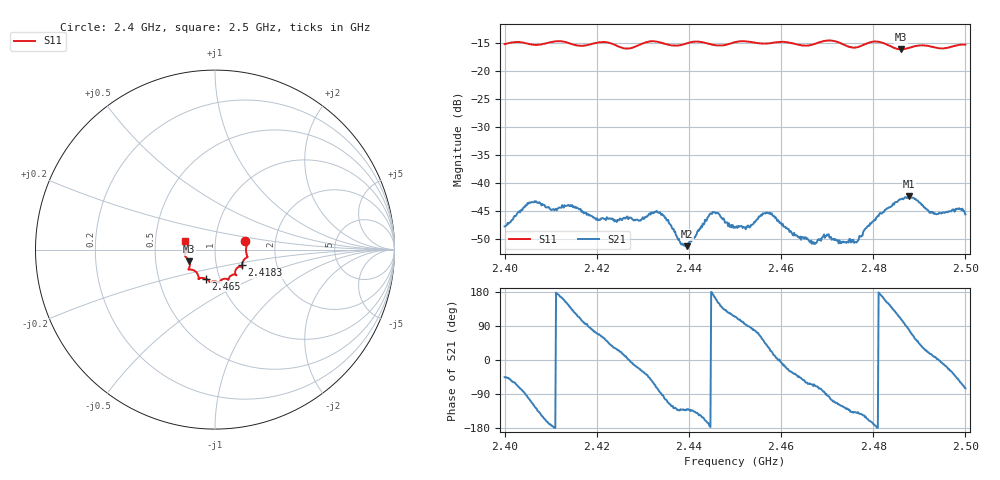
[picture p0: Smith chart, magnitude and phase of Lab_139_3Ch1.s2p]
# Hz S RI R 50
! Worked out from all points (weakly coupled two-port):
!   601 points, 2.4 GHz to 2.5 GHz, reference 50 ohm
!   highest |S21| = -42.40 dB at 2.4877 GHz (marker M1); lowest = -51.3 dB at 2.4395 GHz (marker M2)
!   lowest |S11| = -16.1 dB at 2.486 GHz (marker M3), VSWR 1.37, Z = 37.2 - j4.95 ohm
!   |S11| at or under -10 dB: start of sweep to end of sweep
!   S12 and S22 are empty: the file has one direction only
!   S11 on the Smith chart (normalised r, x): 2.4 GHz: 1.40, +0.13; 2.4183 GHz: 1.33, -0.24; 2.465 GHz: 0.86, -0.29; 2.5 GHz: 0.71, +0.07
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2.4e9  0.1693 0.0459  0.00289 -0.00291  0 0  0 0
2.406e9  0.1734 0.00877  -0.00275 -0.00616  0 0  0 0
2.416667e9  0.155 -0.068  -0.00143 0.00535  0 0  0 0
2.418333e9  0.15 -0.087  0.000299 0.00512  0 0  0 0
2.429167e9  0.1123 -0.1306  0.00424 -0.00177  0 0  0 0
2.433333e9  0.1176 -0.1409  0.00106 -0.00534  0 0  0 0
2.438167e9  0.0816 -0.1513  -0.00186 -0.00222  0 0  0 0
2.4395e9  0.0768 -0.1607  -0.00175 -0.00209  0 0  0 0
2.445e9  0.0621 -0.1623  -0.00529 0.000149  0 0  0 0
2.45e9  0.0255 -0.1808  -0.00162 0.00363  0 0  0 0
2.452833e9  0.0194 -0.1839  8.1e-05 0.00418  0 0  0 0
2.457167e9  -0.0114 -0.1775  0.00451 0.00303  0 0  0 0
2.465e9  -0.0523 -0.1619  0.00191 -0.00254  0 0  0 0
2.466667e9  -0.0713 -0.1575  0.00123 -0.00259  0 0  0 0
2.469833e9  -0.092 -0.1645  2.21e-05 -0.00336  0 0  0 0
2.476333e9  -0.1139 -0.1177  -0.0022 -0.00195  0 0  0 0
2.480167e9  -0.1477 -0.1109  -0.00451 -0.000805  0 0  0 0
2.483333e9  -0.1414 -0.0962  -0.00511 0.00319  0 0  0 0
2.486e9  -0.1431 -0.0649  -0.00227 0.00677  0 0  0 0
2.487667e9  -0.1542 -0.0492  0.00118 0.0075  0 0  0 0
2.4935e9  -0.1625 -0.0146  0.00526 0.000721  0 0  0 0
2.5e9  -0.1671 0.0472  0.00139 -0.00505  0 0  0 0
